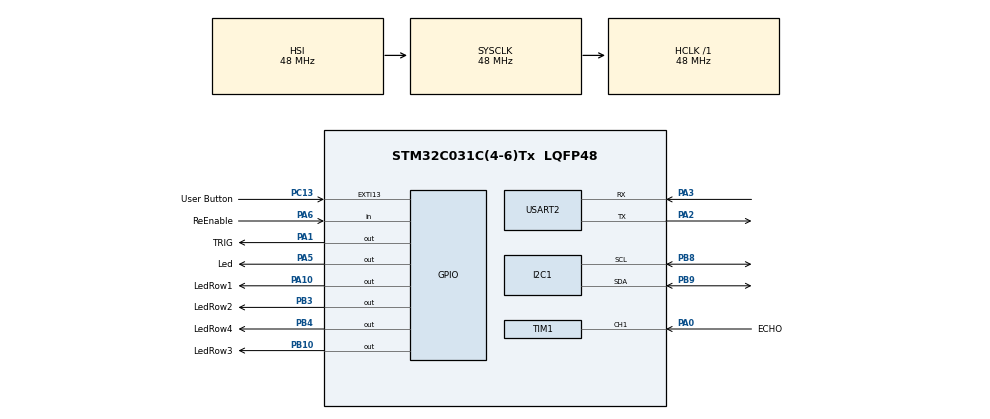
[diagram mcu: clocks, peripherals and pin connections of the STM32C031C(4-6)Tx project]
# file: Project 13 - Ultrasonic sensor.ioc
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I2C1.Timing=0x20303E5D
Mcu.Family=STM32C0
Mcu.Name=STM32C031C(4-6)Tx
Mcu.Package=LQFP48
NVIC.EXTI4_15_IRQn=true\:0\:0\:false\:false\:true\:true\:true\:true
NVIC.TIM1_BRK_UP_TRG_COM_IRQn=true\:0\:0\:false\:false\:true\:true\:true\:true
NVIC.TIM1_CC_IRQn=true\:0\:0\:false\:false\:true\:true\:true\:true
PA0.GPIO_Label=ECHO
PA0.Signal=S_TIM1_CH1
PA1.GPIO_Label=TRIG
PA1.Signal=GPIO_Output
PA10.GPIO_Label=LedRow1
PA10.Signal=GPIO_Output
PA13.Mode=Serial_Wire
PA13.Signal=DEBUG_SWDIO
PA14-BOOT0.Mode=Serial_Wire
PA14-BOOT0.Signal=DEBUG_SWCLK
PA2.Mode=Asynchronous
PA2.Signal=USART2_TX
PA3.Mode=Asynchronous
PA3.Signal=USART2_RX
PA5.GPIO_Label=Led
PA5.GPIO_Speed=GPIO_SPEED_FREQ_VERY_HIGH
PA5.PinState=GPIO_PIN_SET
PA5.Signal=GPIO_Output
PA6.GPIO_Label=ReEnable
PA6.Signal=GPIO_Input
PB10.GPIO_Label=LedRow3
PB10.Signal=GPIO_Output
PB3.GPIO_Label=LedRow2
PB3.Signal=GPIO_Output
PB4.GPIO_Label=LedRow4
PB4.Signal=GPIO_Output
PB8.Mode=I2C
PB8.Signal=I2C1_SCL
PB9.Mode=I2C
PB9.Signal=I2C1_SDA
PC13.GPIO_Label=User Button
PC13.Signal=GPXTI13
PC14-OSCX_IN\ (PC14).Mode=LSE-External-Oscillator
PC14-OSCX_IN\ (PC14).Signal=RCC_OSCX_IN
PC15-OSCX_OUT\ (PC15).Mode=LSE-External-Oscillator
PC15-OSCX_OUT\ (PC15).Signal=RCC_OSCX_OUT
PF0-OSC_IN\ (PF0).Mode=HSE-External-Oscillator
PF0-OSC_IN\ (PF0).Signal=RCC_OSC_IN
PF1-OSC_OUT\ (PF1).Mode=HSE-External-Oscillator
PF1-OSC_OUT\ (PF1).Signal=RCC_OSC_OUT
ProjectManager.HeapSize=0x200
ProjectManager.StackSize=0x400
ProjectManager.TargetToolchain=STM32CubeIDE
RCC.ADCFreq_Value=48000000
RCC.AHBFreq_Value=48000000
RCC.CortexFreq_Value=48000000
RCC.EXTERNAL_CLOCK_VALUE=12288000
RCC.HCLKFreq_Value=48000000
RCC.HSE_VALUE=48000000
RCC.HSISYSCLKDivider=RCC_HSI_DIV1
RCC.HSI_VALUE=48000000
RCC.SYSCLKFreq_VALUE=48000000
SH.S_TIM1_CH1.0=TIM1_CH1,Input_Capture1_from_TI1
TIM1.Channel-Input_Capture1_from_TI1=TIM_CHANNEL_1
TIM1.Period=65535
TIM1.Prescaler=48-1
TIM3.AutoReloadPreload=TIM_AUTORELOAD_PRELOAD_ENABLE
TIM3.Period=12000
TIM3.Prescaler=48-1
USART2.VirtualMode-Asynchronous=VM_ASYNC
VP_TIM1_VS_ClockSourceINT.Mode=Internal
VP_TIM3_VS_ClockSourceINT.Mode=Internal
board=NUCLEO-C031C6

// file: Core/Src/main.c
/* USER CODE BEGIN Header */
/**
  ******************************************************************************
  * @file           : main.c
  * @brief          : Main program body
  ******************************************************************************
  * @attention
  *
  * Copyright (c) 2023 STMicroelectronics.
  * All rights reserved.
  *
  * This software is licensed under terms that can be found in the LICENSE file
  * in the root directory of this software component.
  * If no LICENSE file comes with this software, it is provided AS-IS.
  *
  ******************************************************************************
  */
/* USER CODE END Header */
#include "main.h"

/* USER CODE BEGIN Includes */

#include <stdio.h>
#include <string.h>

/* USER CODE END Includes */

I2C_HandleTypeDef hi2c1;

TIM_HandleTypeDef htim1;
TIM_HandleTypeDef htim3;

UART_HandleTypeDef huart2;

void SystemClock_Config(void);
static void MX_GPIO_Init(void);
static void MX_I2C1_Init(void);
static void MX_USART2_UART_Init(void);
static void MX_TIM1_Init(void);
static void MX_TIM3_Init(void);

/* USER CODE BEGIN 0 */

uint32_t IC_Val1 = 0;
uint32_t IC_Val2 = 0;
uint32_t Difference = 0;
uint8_t Is_First_Captured = 0;  // is the first value captured ?
int16_t Distance  = 0;

uint8_t LedEnabled = 1;

#define TRIG_PIN TRIG_Pin
#define TRIG_PORT TRIG_GPIO_Port

#define MINIMUM_DISTANCE 15

// Let's write the callback function
void delay_us (uint16_t us)
{
	__HAL_TIM_SET_COUNTER(&htim3,0);  // set the counter value a 0
	while (__HAL_TIM_GET_COUNTER(&htim3) < us);  // wait for the counter to reach the us input in the parameter
}

void HCSR04_Read (void)
{
	HAL_GPIO_WritePin(TRIG_PORT, TRIG_PIN, GPIO_PIN_SET);  // pull the TRIG pin HIGH
	delay_us(10);
	HAL_GPIO_WritePin(TRIG_PORT, TRIG_PIN, GPIO_PIN_RESET);  // pull the TRIG pin low

	HAL_TIM_IC_Start_IT(&htim1, TIM_CHANNEL_1);
	__HAL_TIM_SET_COUNTER(&htim1, 0);  // reset the counter

	HAL_TIM_Base_Start(&htim3);
}

void HAL_TIM_IC_CaptureCallback(TIM_HandleTypeDef *htim)
{
	if (htim->Channel == HAL_TIM_ACTIVE_CHANNEL_1)  // if the interrupt source is channel1
	{
		if (Is_First_Captured==0) // if the first value is not captured
		{
			IC_Val1 = HAL_TIM_ReadCapturedValue(htim, TIM_CHANNEL_1); // read the first value
			Is_First_Captured = 1;  // set the first captured as true
			// Now change the polarity to falling edge
			htim1.Instance->CCER |= TIM_CCER_CC1P;
		}

		else if (Is_First_Captured==1)   // if the first is already captured
		{
			IC_Val2 = HAL_TIM_ReadCapturedValue(htim, TIM_CHANNEL_1);  // read second value

			if (IC_Val2 > IC_Val1)
			{
				Difference = IC_Val2-IC_Val1;
			}

			else if (IC_Val1 > IC_Val2)
			{
				Difference = (0xffff - IC_Val1) + IC_Val2;
			}

			Distance = Difference * .034/2;
			Is_First_Captured = 0; // set it back to false

			// set polarity to rising edge
			htim1.Instance->CCER &= ~TIM_CCER_CC1P;
			HAL_TIM_IC_Stop_IT(&htim1, TIM_CHANNEL_1);

			//12ms timeout
			if (__HAL_TIM_GET_COUNTER(htim) > 12000){
				Distance = -1;
			}
			if (Distance > 400){
				Distance = -1;
			}

			//Led
			if (Distance != -1){
				if (Distance <= MINIMUM_DISTANCE){
					LedEnabled = 0;
				}
			}

			char str[10];
			sprintf(str, "%d\r\n", Distance);
			HAL_UART_Transmit(&huart2, (uint8_t *)str, strlen(str), 10);
		}
	}
}

/* USER CODE END 0 */

int main(void)
{

  /* MCU Configuration--------------------------------------------------------*/

  /* Reset of all peripherals, Initializes the Flash interface and the Systick. */
  HAL_Init();

  /* Configure the system clock */
  SystemClock_Config();

  /* Initialize all configured peripherals */
  MX_GPIO_Init();
  MX_I2C1_Init();
  MX_USART2_UART_Init();
  MX_TIM1_Init();
  MX_TIM3_Init();
  /* USER CODE BEGIN 2 */
  HAL_TIM_Base_Start(&htim1);
  HAL_TIM_Base_Start(&htim3);

  HAL_Delay(100);

  /* USER CODE END 2 */

  /* Infinite loop */
  while (1)
  {

    /* USER CODE BEGIN 3 */

	//Enable
	HCSR04_Read();
	HAL_Delay(60);

	if (HAL_GPIO_ReadPin(ReEnable_GPIO_Port, ReEnable_Pin) == GPIO_PIN_SET && (Distance > MINIMUM_DISTANCE || Distance == -1)){
		LedEnabled = 1;
	}

	HAL_GPIO_WritePin(Led_GPIO_Port, Led_Pin, LedEnabled);

	//Rows

	if (Distance != -1) {
		HAL_GPIO_WritePin(LedRow1_GPIO_Port, LedRow1_Pin, 0);
		HAL_GPIO_WritePin(LedRow2_GPIO_Port, LedRow2_Pin, 0);
		HAL_GPIO_WritePin(LedRow3_GPIO_Port, LedRow3_Pin, 0);
		HAL_GPIO_WritePin(LedRow4_GPIO_Port, LedRow4_Pin, 0);

		if (Distance < MINIMUM_DISTANCE){
			HAL_GPIO_WritePin(LedRow1_GPIO_Port, LedRow1_Pin, 1);
		}
		else if (Distance < MINIMUM_DISTANCE * 2){
			HAL_GPIO_WritePin(LedRow2_GPIO_Port, LedRow2_Pin, 1);
		}
		else if (Distance < MINIMUM_DISTANCE * 3){
			HAL_GPIO_WritePin(LedRow3_GPIO_Port, LedRow3_Pin, 1);
		}
		else {
			HAL_GPIO_WritePin(LedRow4_GPIO_Port, LedRow4_Pin, 1);
		}
	}
  }
  /* USER CODE END 3 */
}

void SystemClock_Config(void)
{
  RCC_OscInitTypeDef RCC_OscInitStruct = {0};
  RCC_ClkInitTypeDef RCC_ClkInitStruct = {0};

  /** Initializes the RCC Oscillators according to the specified parameters
  * in the RCC_OscInitTypeDef structure.
  */
  RCC_OscInitStruct.OscillatorType = RCC_OSCILLATORTYPE_HSI;
  RCC_OscInitStruct.HSIState = RCC_HSI_ON;
  RCC_OscInitStruct.HSIDiv = RCC_HSI_DIV1;
  RCC_OscInitStruct.HSICalibrationValue = RCC_HSICALIBRATION_DEFAULT;
  if (HAL_RCC_OscConfig(&RCC_OscInitStruct) != HAL_OK)
  {
    Error_Handler();
  }

  /** Initializes the CPU, AHB and APB buses clocks
  */
  RCC_ClkInitStruct.ClockType = RCC_CLOCKTYPE_HCLK|RCC_CLOCKTYPE_SYSCLK
                              |RCC_CLOCKTYPE_PCLK1;
  RCC_ClkInitStruct.SYSCLKSource = RCC_SYSCLKSOURCE_HSI;
  RCC_ClkInitStruct.SYSCLKDivider = RCC_SYSCLK_DIV1;
  RCC_ClkInitStruct.AHBCLKDivider = RCC_HCLK_DIV1;
  RCC_ClkInitStruct.APB1CLKDivider = RCC_APB1_DIV1;

  if (HAL_RCC_ClockConfig(&RCC_ClkInitStruct, FLASH_LATENCY_1) != HAL_OK)
  {
    Error_Handler();
  }
}

static void MX_I2C1_Init(void)
{

  hi2c1.Instance = I2C1;
  hi2c1.Init.Timing = 0x20303E5D;
  hi2c1.Init.OwnAddress1 = 0;
  hi2c1.Init.AddressingMode = I2C_ADDRESSINGMODE_7BIT;
  hi2c1.Init.DualAddressMode = I2C_DUALADDRESS_DISABLE;
  hi2c1.Init.OwnAddress2 = 0;
  hi2c1.Init.OwnAddress2Masks = I2C_OA2_NOMASK;
  hi2c1.Init.GeneralCallMode = I2C_GENERALCALL_DISABLE;
  hi2c1.Init.NoStretchMode = I2C_NOSTRETCH_DISABLE;
  if (HAL_I2C_Init(&hi2c1) != HAL_OK)
  {
    Error_Handler();
  }

  /** Configure Analogue filter
  */
  if (HAL_I2CEx_ConfigAnalogFilter(&hi2c1, I2C_ANALOGFILTER_ENABLE) != HAL_OK)
  {
    Error_Handler();
  }

  /** Configure Digital filter
  */
  if (HAL_I2CEx_ConfigDigitalFilter(&hi2c1, 0) != HAL_OK)
  {
    Error_Handler();
  }

}

static void MX_TIM1_Init(void)
{

  TIM_ClockConfigTypeDef sClockSourceConfig = {0};
  TIM_MasterConfigTypeDef sMasterConfig = {0};
  TIM_IC_InitTypeDef sConfigIC = {0};

  htim1.Instance = TIM1;
  htim1.Init.Prescaler = 48-1;
  htim1.Init.CounterMode = TIM_COUNTERMODE_UP;
  htim1.Init.Period = 65535;
  htim1.Init.ClockDivision = TIM_CLOCKDIVISION_DIV1;
  htim1.Init.RepetitionCounter = 0;
  htim1.Init.AutoReloadPreload = TIM_AUTORELOAD_PRELOAD_DISABLE;
  if (HAL_TIM_Base_Init(&htim1) != HAL_OK)
  {
    Error_Handler();
  }
  sClockSourceConfig.ClockSource = TIM_CLOCKSOURCE_INTERNAL;
  if (HAL_TIM_ConfigClockSource(&htim1, &sClockSourceConfig) != HAL_OK)
  {
    Error_Handler();
  }
  if (HAL_TIM_IC_Init(&htim1) != HAL_OK)
  {
    Error_Handler();
  }
  sMasterConfig.MasterOutputTrigger = TIM_TRGO_RESET;
  sMasterConfig.MasterOutputTrigger2 = TIM_TRGO2_RESET;
  sMasterConfig.MasterSlaveMode = TIM_MASTERSLAVEMODE_DISABLE;
  if (HAL_TIMEx_MasterConfigSynchronization(&htim1, &sMasterConfig) != HAL_OK)
  {
    Error_Handler();
  }
  sConfigIC.ICPolarity = TIM_INPUTCHANNELPOLARITY_RISING;
  sConfigIC.ICSelection = TIM_ICSELECTION_DIRECTTI;
  sConfigIC.ICPrescaler = TIM_ICPSC_DIV1;
  sConfigIC.ICFilter = 0;
  if (HAL_TIM_IC_ConfigChannel(&htim1, &sConfigIC, TIM_CHANNEL_1) != HAL_OK)
  {
    Error_Handler();
  }

}

static void MX_TIM3_Init(void)
{

  TIM_ClockConfigTypeDef sClockSourceConfig = {0};
  TIM_MasterConfigTypeDef sMasterConfig = {0};

  htim3.Instance = TIM3;
  htim3.Init.Prescaler = 48-1;
  htim3.Init.CounterMode = TIM_COUNTERMODE_UP;
  htim3.Init.Period = 12000;
  htim3.Init.ClockDivision = TIM_CLOCKDIVISION_DIV1;
  htim3.Init.AutoReloadPreload = TIM_AUTORELOAD_PRELOAD_ENABLE;
  if (HAL_TIM_Base_Init(&htim3) != HAL_OK)
  {
    Error_Handler();
  }
  sClockSourceConfig.ClockSource = TIM_CLOCKSOURCE_INTERNAL;
  if (HAL_TIM_ConfigClockSource(&htim3, &sClockSourceConfig) != HAL_OK)
  {
    Error_Handler();
  }
  sMasterConfig.MasterOutputTrigger = TIM_TRGO_RESET;
  sMasterConfig.MasterSlaveMode = TIM_MASTERSLAVEMODE_DISABLE;
  if (HAL_TIMEx_MasterConfigSynchronization(&htim3, &sMasterConfig) != HAL_OK)
  {
    Error_Handler();
  }

}

static void MX_USART2_UART_Init(void)
{

  huart2.Instance = USART2;
  huart2.Init.BaudRate = 115200;
  huart2.Init.WordLength = UART_WORDLENGTH_8B;
  huart2.Init.StopBits = UART_STOPBITS_1;
  huart2.Init.Parity = UART_PARITY_NONE;
  huart2.Init.Mode = UART_MODE_TX_RX;
  huart2.Init.HwFlowCtl = UART_HWCONTROL_NONE;
  huart2.Init.OverSampling = UART_OVERSAMPLING_16;
  huart2.Init.OneBitSampling = UART_ONE_BIT_SAMPLE_DISABLE;
  huart2.Init.ClockPrescaler = UART_PRESCALER_DIV1;
  huart2.AdvancedInit.AdvFeatureInit = UART_ADVFEATURE_NO_INIT;
  if (HAL_UART_Init(&huart2) != HAL_OK)
  {
    Error_Handler();
  }

}

static void MX_GPIO_Init(void)
{
  GPIO_InitTypeDef GPIO_InitStruct = {0};

  /* GPIO Ports Clock Enable */
  __HAL_RCC_GPIOC_CLK_ENABLE();
  __HAL_RCC_GPIOF_CLK_ENABLE();
  __HAL_RCC_GPIOA_CLK_ENABLE();
  __HAL_RCC_GPIOB_CLK_ENABLE();

  /*Configure GPIO pin Output Level */
  HAL_GPIO_WritePin(GPIOA, TRIG_Pin|LedRow1_Pin, GPIO_PIN_RESET);

  /*Configure GPIO pin Output Level */
  HAL_GPIO_WritePin(Led_GPIO_Port, Led_Pin, GPIO_PIN_SET);

  /*Configure GPIO pin Output Level */
  HAL_GPIO_WritePin(GPIOB, LedRow3_Pin|LedRow2_Pin|LedRow4_Pin, GPIO_PIN_RESET);

  /*Configure GPIO pin : User_Button_Pin */
  GPIO_InitStruct.Pin = User_Button_Pin;
  GPIO_InitStruct.Mode = GPIO_MODE_IT_RISING;
  GPIO_InitStruct.Pull = GPIO_NOPULL;
  HAL_GPIO_Init(User_Button_GPIO_Port, &GPIO_InitStruct);

  /*Configure GPIO pins : TRIG_Pin LedRow1_Pin */
  GPIO_InitStruct.Pin = TRIG_Pin|LedRow1_Pin;
  GPIO_InitStruct.Mode = GPIO_MODE_OUTPUT_PP;
  GPIO_InitStruct.Pull = GPIO_NOPULL;
  GPIO_InitStruct.Speed = GPIO_SPEED_FREQ_LOW;
  HAL_GPIO_Init(GPIOA, &GPIO_InitStruct);

  /*Configure GPIO pin : Led_Pin */
  GPIO_InitStruct.Pin = Led_Pin;
  GPIO_InitStruct.Mode = GPIO_MODE_OUTPUT_PP;
  GPIO_InitStruct.Pull = GPIO_NOPULL;
  GPIO_InitStruct.Speed = GPIO_SPEED_FREQ_VERY_HIGH;
  HAL_GPIO_Init(Led_GPIO_Port, &GPIO_InitStruct);

  /*Configure GPIO pin : ReEnable_Pin */
  GPIO_InitStruct.Pin = ReEnable_Pin;
  GPIO_InitStruct.Mode = GPIO_MODE_INPUT;
  GPIO_InitStruct.Pull = GPIO_NOPULL;
  HAL_GPIO_Init(ReEnable_GPIO_Port, &GPIO_InitStruct);

  /*Configure GPIO pins : LedRow3_Pin LedRow2_Pin LedRow4_Pin */
  GPIO_InitStruct.Pin = LedRow3_Pin|LedRow2_Pin|LedRow4_Pin;
  GPIO_InitStruct.Mode = GPIO_MODE_OUTPUT_PP;
  GPIO_InitStruct.Pull = GPIO_NOPULL;
  GPIO_InitStruct.Speed = GPIO_SPEED_FREQ_LOW;
  HAL_GPIO_Init(GPIOB, &GPIO_InitStruct);

  /* EXTI interrupt init*/
  HAL_NVIC_SetPriority(EXTI4_15_IRQn, 0, 0);
  HAL_NVIC_EnableIRQ(EXTI4_15_IRQn);

}

void Error_Handler(void)
{
  __disable_irq();
  while (1)
  {
  }
}
